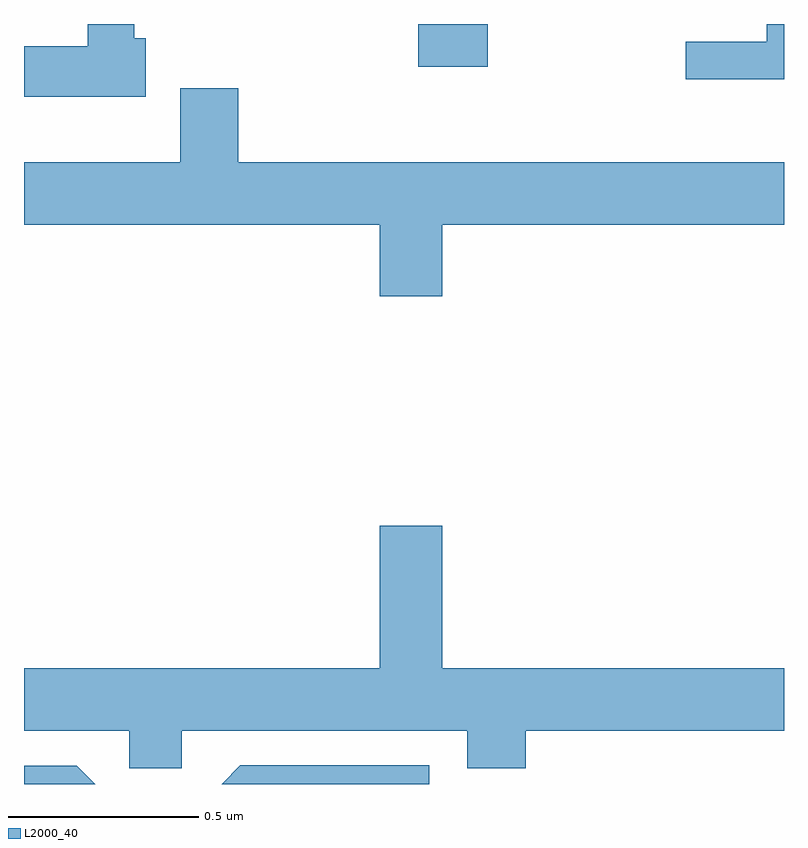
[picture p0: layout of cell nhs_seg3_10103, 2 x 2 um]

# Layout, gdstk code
import gdstk
lib = gdstk.Library(unit=1e-6, precision=1e-09)
def P(c, l, *ps):  # polygons
    for p in ps: c.add(gdstk.Polygon(p, *l))
L2000_40 = (2000, 40)

nhs_seg3_10103 = lib.new_cell('nhs_seg3_10103')
P(nhs_seg3_10103, L2000_40, [(238,745.4),(237.954,745.4),(237.954,745.353),(237.741,745.353),(237.741,745.255),(238,745.255)],
  [(236.32,745.362),(236.29,745.362),(236.29,745.4),(236.168,745.4),(236.168,745.342),(236,745.342),(236,745.208),(236.32,745.208)],
  [(237.221,745.399),(237.208,745.399),(237.208,745.4),(237.038,745.4),(237.038,745.287),(237.221,745.287)],
  [(237.1,744.872),(238,744.872),(238,745.036),(236.564,745.036),(236.564,745.231),(236.411,745.231),(236.411,745.036),(236,745.036),(236,744.872),(236.936,744.872),(236.936,744.684),(237.1,744.684)],
  [(237.32,743.54),(238,743.54),(238,743.704),(237.1,743.704),(237.1,744.079),(236.936,744.079),(236.936,743.704),(236,743.704),(236,743.54),(236.277,743.54),(236.277,743.442),(236.415,743.442),(236.415,743.54),(237.167,743.54),(237.167,743.441),(237.32,743.441)],
  [(237.066,743.449),(236.569,743.449),(236.52,743.4),(237.066,743.4)],
  [(236.139,743.448),(236,743.448),(236,743.4),(236.187,743.4)])

lib.write_gds('nhs_seg3_10103.gds')
